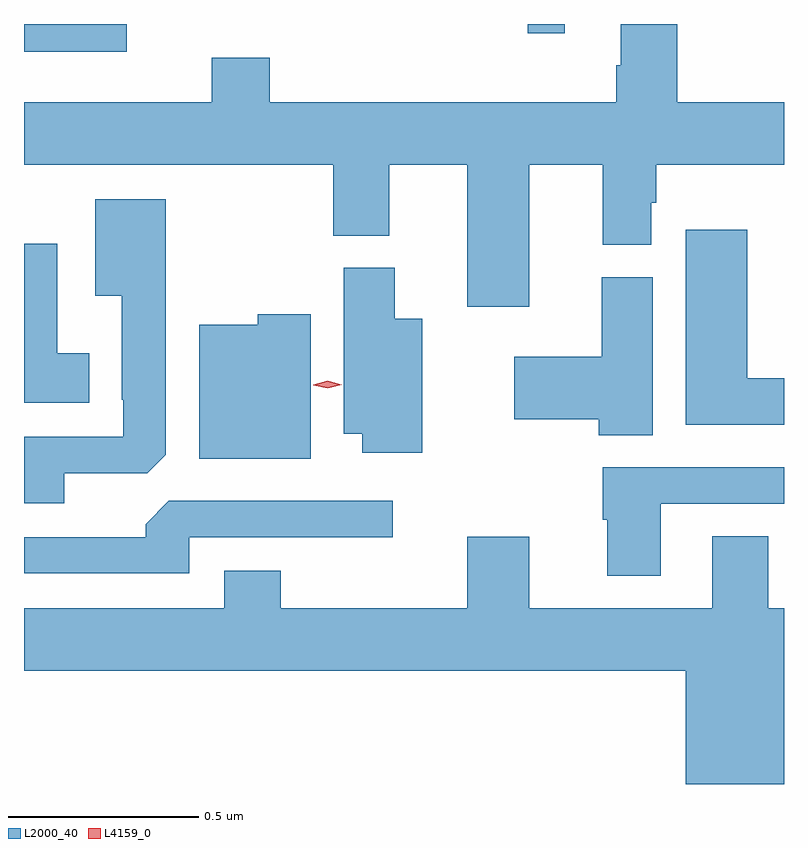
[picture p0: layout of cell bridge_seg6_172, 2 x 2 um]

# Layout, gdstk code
import gdstk
lib = gdstk.Library(unit=1e-6, precision=1e-09)
def R(c, l, rs):  # rectangles x0, y0, x1, y1
    for r in rs: c.add(gdstk.rectangle(r[:2], r[2:], *l))
def P(c, l, *ps):  # polygons
    for p in ps: c.add(gdstk.Polygon(p, *l))
L2000_40 = (2000, 40)
L4159_0 = (4159, 0)

bridge_seg6_172 = lib.new_cell('bridge_seg6_172')
R(bridge_seg6_172, L2000_40, [(127.878,919.661,128.148,919.734), (129.204,919.71,129.301,919.734)])
P(bridge_seg6_172, L2000_40, [(129.208,919.364),(129.401,919.364),(129.401,919.153),(129.529,919.153),(129.529,919.263),(129.542,919.263),(129.542,919.364),(129.878,919.364),(129.878,919.528),(129.597,919.528),(129.597,919.734),(129.449,919.734),(129.449,919.626),(129.437,919.626),(129.437,919.528),(128.525,919.528),(128.525,919.645),(128.372,919.645),(128.372,919.528),(127.878,919.528),(127.878,919.364),(128.692,919.364),(128.692,919.177),(128.839,919.177),(128.839,919.364),(129.044,919.364),(129.044,918.99),(129.208,918.99)],
  [(129.017,919.734),(128.608,919.734),(128.608,919.733),(129.016,919.733)],
  [(127.984,918.552),(128.202,918.552),(128.251,918.601),(128.251,919.273),(128.066,919.273),(128.066,919.019),(128.135,919.019),(128.135,918.745),(128.139,918.745),(128.139,918.648),(127.878,918.648),(127.878,918.473),(127.984,918.473)],
  [(129.878,918.802),(129.781,918.802),(129.781,919.192),(129.62,919.192),(129.62,918.68),(129.878,918.68)],
  [(128.05,918.868),(127.966,918.868),(127.966,919.156),(127.878,919.156),(127.878,918.737),(128.05,918.737)],
  [(128.926,918.958),(128.854,918.958),(128.854,919.092),(128.72,919.092),(128.72,918.656),(128.768,918.656),(128.768,918.606),(128.926,918.606)],
  [(129.532,919.068),(129.398,919.068),(129.398,918.859),(129.168,918.859),(129.168,918.694),(129.391,918.694),(129.391,918.652),(129.532,918.652)],
  [(128.632,918.97),(128.493,918.97),(128.493,918.943),(128.339,918.943),(128.339,918.59),(128.632,918.59)],
  [(129.553,918.471),(129.878,918.471),(129.878,918.567),(129.401,918.567),(129.401,918.429),(129.413,918.429),(129.413,918.282),(129.553,918.282)],
  [(128.313,918.384),(128.848,918.384),(128.848,918.48),(128.259,918.48),(128.198,918.418),(128.198,918.384),(127.878,918.384),(127.878,918.288),(128.313,918.288)],
  [(129.878,918.196),(129.837,918.196),(129.837,918.386),(129.689,918.386),(129.689,918.196),(129.208,918.196),(129.208,918.385),(129.044,918.385),(129.044,918.196),(128.553,918.196),(128.553,918.295),(128.405,918.295),(128.405,918.196),(127.878,918.196),(127.878,918.032),(129.62,918.032),(129.62,917.734),(129.878,917.734)])
P(bridge_seg6_172, L4159_0, [(128.677,918.775),(128.639,918.784),(128.639,918.785),(128.639,918.785),(128.677,918.795),(128.714,918.785),(128.714,918.785),(128.714,918.785)])

lib.write_gds('bridge_seg6_172.gds')
